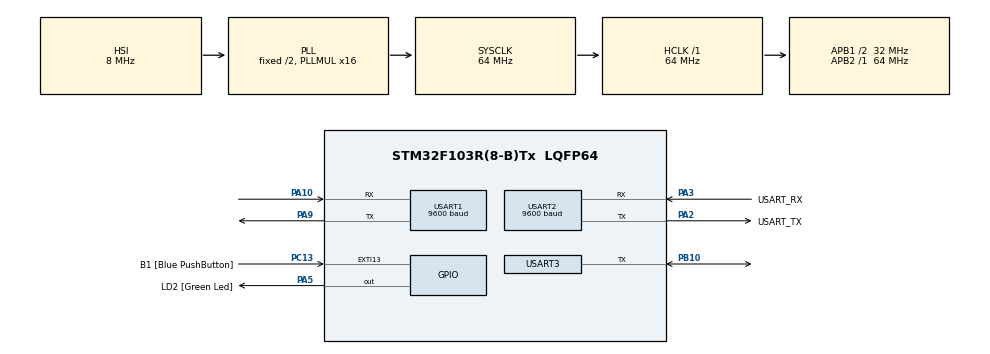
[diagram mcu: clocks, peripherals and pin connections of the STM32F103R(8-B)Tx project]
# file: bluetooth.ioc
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FREERTOS.Queues01=myQueue01,16,uint16_t,0,Dynamic,NULL,NULL
FREERTOS.Tasks01=defaultTask,24,128,StartDefaultTask,Default,NULL,Dynamic,NULL,NULL;Temp_Measure,15,128,Start_Temp_Measure,Default,NULL,Dynamic,NULL,NULL;Send_Data,13,128,Start_Send_Data,Default,NULL,Dynamic,NULL,NULL
FREERTOS.configUSE_NEWLIB_REENTRANT=1
Mcu.Family=STM32F1
Mcu.Name=STM32F103R(8-B)Tx
Mcu.Package=LQFP64
NVIC.EXTI15_10_IRQn=true\:5\:0\:false\:false\:true\:true\:true\:true\:true
NVIC.PriorityGroup=NVIC_PRIORITYGROUP_4
NVIC.TIM1_UP_IRQn=true\:15\:0\:false\:false\:true\:false\:false\:true\:true
NVIC.TimeBase=TIM1_UP_IRQn
NVIC.TimeBaseIP=TIM1
NVIC.USART1_IRQn=true\:5\:0\:false\:false\:true\:true\:true\:true\:true
NVIC.USART2_IRQn=true\:5\:0\:false\:false\:true\:true\:true\:true\:true
PA10.Mode=Asynchronous
PA10.Signal=USART1_RX
PA13.GPIO_Label=TMS
PA13.Mode=Serial_Wire
PA13.Signal=SYS_JTMS-SWDIO
PA14.GPIO_Label=TCK
PA14.Mode=Serial_Wire
PA14.Signal=SYS_JTCK-SWCLK
PA2.GPIO_Label=USART_TX
PA2.GPIO_Mode=GPIO_MODE_AF_PP
PA2.GPIO_PuPd=GPIO_NOPULL
PA2.GPIO_Speed=GPIO_SPEED_FREQ_LOW
PA2.Mode=Asynchronous
PA2.Signal=USART2_TX
PA3.GPIO_Label=USART_RX
PA3.GPIO_Mode=GPIO_MODE_AF_PP
PA3.GPIO_PuPd=GPIO_NOPULL
PA3.GPIO_Speed=GPIO_SPEED_FREQ_LOW
PA3.Mode=Asynchronous
PA3.Signal=USART2_RX
PA5.GPIO_Label=LD2 [Green Led]
PA5.GPIO_ModeDefaultOutputPP=GPIO_MODE_OUTPUT_PP
PA5.GPIO_PuPd=GPIO_NOPULL
PA5.GPIO_Speed=GPIO_SPEED_FREQ_LOW
PA5.Signal=GPIO_Output
PA9.Mode=Asynchronous
PA9.Signal=USART1_TX
PB10.GPIO_Mode=GPIO_MODE_AF_OD
PB10.Mode=Half_duplex(single_wire_mode)
PB10.Signal=USART3_TX
PB3.GPIO_Label=SWO
PB3.Signal=SYS_JTDO-TRACESWO
PC13-TAMPER-RTC.GPIO_Label=B1 [Blue PushButton]
PC13-TAMPER-RTC.GPIO_PuPd=GPIO_NOPULL
PC13-TAMPER-RTC.Signal=GPXTI13
PC14-OSC32_IN.Mode=LSE-External-Oscillator
PC14-OSC32_IN.Signal=RCC_OSC32_IN
PC15-OSC32_OUT.Mode=LSE-External-Oscillator
PC15-OSC32_OUT.Signal=RCC_OSC32_OUT
PD0-OSC_IN.Mode=HSE-External-Clock-Source
PD0-OSC_IN.Signal=RCC_OSC_IN
PD1-OSC_OUT.Mode=HSE-External-Clock-Source
PD1-OSC_OUT.Signal=RCC_OSC_OUT
ProjectManager.HeapSize=0x200
ProjectManager.StackSize=0x400
ProjectManager.TargetToolchain=STM32CubeIDE
RCC.AHBFreq_Value=64000000
RCC.APB1CLKDivider=RCC_HCLK_DIV2
RCC.APB1Freq_Value=32000000
RCC.APB1TimFreq_Value=64000000
RCC.APB2Freq_Value=64000000
RCC.APB2TimFreq_Value=64000000
RCC.HCLKFreq_Value=64000000
RCC.PLLMUL=RCC_PLL_MUL16
RCC.RTCClockSelection=RCC_RTCCLKSOURCE_LSE
RCC.SYSCLKFreq_VALUE=64000000
RCC.SYSCLKSource=RCC_SYSCLKSOURCE_PLLCLK
RCC.USBFreq_Value=64000000
USART1.BaudRate=9600
USART1.VirtualMode=VM_ASYNC
USART2.BaudRate=9600
USART2.VirtualMode=VM_ASYNC
USART3.BaudRate=9600
USART3.VirtualMode=VM_ASYNC
VP_FREERTOS_VS_CMSIS_V2.Mode=CMSIS_V2
VP_SYS_VS_tim1.Mode=TIM1
board=NUCLEO-F103RB

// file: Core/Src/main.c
/* USER CODE BEGIN Header */
/**
  ******************************************************************************
  * @file           : main.c
  * @brief          : Main program body
  ******************************************************************************
  * @attention
  *
  * Copyright (c) 2022 STMicroelectronics.
  * All rights reserved.
  *
  * This software is licensed under terms that can be found in the LICENSE file
  * in the root directory of this software component.
  * If no LICENSE file comes with this software, it is provided AS-IS.
  *
  ******************************************************************************
  */
/* USER CODE END Header */
#include "main.h"
#include "cmsis_os.h"

 UART_HandleTypeDef huart1;
UART_HandleTypeDef huart2;
UART_HandleTypeDef huart3;

/* Definitions for defaultTask */
osThreadId_t defaultTaskHandle;
const osThreadAttr_t defaultTask_attributes = {
  .name = "defaultTask",
  .stack_size = 128 * 4,
  .priority = (osPriority_t) osPriorityNormal,
};
/* Definitions for Temp_Measure */
osThreadId_t Temp_MeasureHandle;
const osThreadAttr_t Temp_Measure_attributes = {
  .name = "Temp_Measure",
  .stack_size = 128 * 4,
  .priority = (osPriority_t) osPriorityLow7,
};
/* Definitions for Send_Data */
osThreadId_t Send_DataHandle;
const osThreadAttr_t Send_Data_attributes = {
  .name = "Send_Data",
  .stack_size = 128 * 4,
  .priority = (osPriority_t) osPriorityLow5,
};
/* Definitions for myQueue01 */
osMessageQueueId_t myQueue01Handle;
const osMessageQueueAttr_t myQueue01_attributes = {
  .name = "myQueue01"
};
/* USER CODE BEGIN PV */
int flaga=0;
char pData[]="siemarr";
uint8_t data=0xBe;
uint8_t data_in=0;
 int Size= 7;
		char pReceive[7];
		  	  int Timeout=100;

/* USER CODE END PV */

void SystemClock_Config(void);
static void MX_GPIO_Init(void);
static void MX_USART2_UART_Init(void);
static void MX_USART1_UART_Init(void);
static void MX_USART3_UART_Init(void);
void StartDefaultTask(void *argument);
void Start_Temp_Measure(void *argument);
void Start_Send_Data(void *argument);

/* USER CODE BEGIN 0 */
void HAL_GPIO_EXTI_Callback(uint16_t GPIO_Pin){

	HAL_GPIO_TogglePin(GPIOA, GPIO_PIN_5);
}
void HAL_UART_RxCpltCallback(UART_HandleTypeDef *huart)
{

	HAL_UART_Receive_IT(&huart1,  pReceive, Size);
	if(strcmp(pReceive,"siema")==0)
	{

	}
	else if(strcmp(pReceive,"niema")==0)
	{

		}

	 HAL_UART_Transmit_IT(&huart2, pReceive, Size);

}
void HAL_UART_TxCpltCallback(UART_HandleTypeDef *huart)
{
}

/* USER CODE END 0 */

int main(void)
{

  /* MCU Configuration--------------------------------------------------------*/

  /* Reset of all peripherals, Initializes the Flash interface and the Systick. */
  HAL_Init();

  /* Configure the system clock */
  SystemClock_Config();

  /* Initialize all configured peripherals */
  MX_GPIO_Init();
  MX_USART2_UART_Init();
  MX_USART1_UART_Init();
  MX_USART3_UART_Init();
  /* USER CODE BEGIN 2 */
  HAL_UART_Receive_IT(&huart1,  pReceive, Size);
	HAL_UART_Transmit_IT(&huart1, pReceive, Size);

  /* USER CODE END 2 */

  /* Init scheduler */
  osKernelInitialize();

  /* Create the queue(s) */
  /* creation of myQueue01 */
  myQueue01Handle = osMessageQueueNew (16, sizeof(uint16_t), &myQueue01_attributes);

  /* Create the thread(s) */
  /* creation of defaultTask */
  defaultTaskHandle = osThreadNew(StartDefaultTask, NULL, &defaultTask_attributes);

  /* creation of Temp_Measure */
  Temp_MeasureHandle = osThreadNew(Start_Temp_Measure, NULL, &Temp_Measure_attributes);

  /* creation of Send_Data */
  Send_DataHandle = osThreadNew(Start_Send_Data, NULL, &Send_Data_attributes);

  /* Start scheduler */
  osKernelStart();

  /* We should never get here as control is now taken by the scheduler */
  /* Infinite loop */
  while (1)
  {

  }
}

void SystemClock_Config(void)
{
  RCC_OscInitTypeDef RCC_OscInitStruct = {0};
  RCC_ClkInitTypeDef RCC_ClkInitStruct = {0};

  /** Initializes the RCC Oscillators according to the specified parameters
  * in the RCC_OscInitTypeDef structure.
  */
  RCC_OscInitStruct.OscillatorType = RCC_OSCILLATORTYPE_HSI;
  RCC_OscInitStruct.HSIState = RCC_HSI_ON;
  RCC_OscInitStruct.HSICalibrationValue = RCC_HSICALIBRATION_DEFAULT;
  RCC_OscInitStruct.PLL.PLLState = RCC_PLL_ON;
  RCC_OscInitStruct.PLL.PLLSource = RCC_PLLSOURCE_HSI_DIV2;
  RCC_OscInitStruct.PLL.PLLMUL = RCC_PLL_MUL16;
  if (HAL_RCC_OscConfig(&RCC_OscInitStruct) != HAL_OK)
  {
    Error_Handler();
  }

  /** Initializes the CPU, AHB and APB buses clocks
  */
  RCC_ClkInitStruct.ClockType = RCC_CLOCKTYPE_HCLK|RCC_CLOCKTYPE_SYSCLK
                              |RCC_CLOCKTYPE_PCLK1|RCC_CLOCKTYPE_PCLK2;
  RCC_ClkInitStruct.SYSCLKSource = RCC_SYSCLKSOURCE_PLLCLK;
  RCC_ClkInitStruct.AHBCLKDivider = RCC_SYSCLK_DIV1;
  RCC_ClkInitStruct.APB1CLKDivider = RCC_HCLK_DIV2;
  RCC_ClkInitStruct.APB2CLKDivider = RCC_HCLK_DIV1;

  if (HAL_RCC_ClockConfig(&RCC_ClkInitStruct, FLASH_LATENCY_2) != HAL_OK)
  {
    Error_Handler();
  }
}

static void MX_USART1_UART_Init(void)
{

  huart1.Instance = USART1;
  huart1.Init.BaudRate = 9600;
  huart1.Init.WordLength = UART_WORDLENGTH_8B;
  huart1.Init.StopBits = UART_STOPBITS_1;
  huart1.Init.Parity = UART_PARITY_NONE;
  huart1.Init.Mode = UART_MODE_TX_RX;
  huart1.Init.HwFlowCtl = UART_HWCONTROL_NONE;
  huart1.Init.OverSampling = UART_OVERSAMPLING_16;
  if (HAL_UART_Init(&huart1) != HAL_OK)
  {
    Error_Handler();
  }

}

static void MX_USART2_UART_Init(void)
{

  huart2.Instance = USART2;
  huart2.Init.BaudRate = 9600;
  huart2.Init.WordLength = UART_WORDLENGTH_8B;
  huart2.Init.StopBits = UART_STOPBITS_1;
  huart2.Init.Parity = UART_PARITY_NONE;
  huart2.Init.Mode = UART_MODE_TX_RX;
  huart2.Init.HwFlowCtl = UART_HWCONTROL_NONE;
  huart2.Init.OverSampling = UART_OVERSAMPLING_16;
  if (HAL_UART_Init(&huart2) != HAL_OK)
  {
    Error_Handler();
  }

}

static void MX_USART3_UART_Init(void)
{

  huart3.Instance = USART3;
  huart3.Init.BaudRate = 9600;
  huart3.Init.WordLength = UART_WORDLENGTH_8B;
  huart3.Init.StopBits = UART_STOPBITS_1;
  huart3.Init.Parity = UART_PARITY_NONE;
  huart3.Init.Mode = UART_MODE_TX_RX;
  huart3.Init.HwFlowCtl = UART_HWCONTROL_NONE;
  huart3.Init.OverSampling = UART_OVERSAMPLING_16;
  if (HAL_HalfDuplex_Init(&huart3) != HAL_OK)
  {
    Error_Handler();
  }

}

static void MX_GPIO_Init(void)
{
  GPIO_InitTypeDef GPIO_InitStruct = {0};

  /* GPIO Ports Clock Enable */
  __HAL_RCC_GPIOC_CLK_ENABLE();
  __HAL_RCC_GPIOD_CLK_ENABLE();
  __HAL_RCC_GPIOA_CLK_ENABLE();
  __HAL_RCC_GPIOB_CLK_ENABLE();

  /*Configure GPIO pin Output Level */
  HAL_GPIO_WritePin(LD2_GPIO_Port, LD2_Pin, GPIO_PIN_RESET);

  /*Configure GPIO pin : B1_Pin */
  GPIO_InitStruct.Pin = B1_Pin;
  GPIO_InitStruct.Mode = GPIO_MODE_IT_RISING;
  GPIO_InitStruct.Pull = GPIO_NOPULL;
  HAL_GPIO_Init(B1_GPIO_Port, &GPIO_InitStruct);

  /*Configure GPIO pin : LD2_Pin */
  GPIO_InitStruct.Pin = LD2_Pin;
  GPIO_InitStruct.Mode = GPIO_MODE_OUTPUT_PP;
  GPIO_InitStruct.Pull = GPIO_NOPULL;
  GPIO_InitStruct.Speed = GPIO_SPEED_FREQ_LOW;
  HAL_GPIO_Init(LD2_GPIO_Port, &GPIO_InitStruct);

  /* EXTI interrupt init*/
  HAL_NVIC_SetPriority(EXTI15_10_IRQn, 5, 0);
  HAL_NVIC_EnableIRQ(EXTI15_10_IRQn);

}

void StartDefaultTask(void *argument)
{
  /* USER CODE BEGIN 5 */

  /* Infinite loop */
  for(;;)
  {

	  HAL_UART_Transmit(&huart3, &data, 1,HAL_MAX_DELAY);
	  HAL_UART_Receive(&huart3, &data_in, 1, HAL_MAX_DELAY);
	  HAL_UART_Transmit(&huart2, &data_in, 1, HAL_MAX_DELAY);
/*
	  if(HAL_GPIO_ReadPin(GPIOC, GPIO_PIN_13)==GPIO_PIN_RESET){

	HAL_UART_Transmit(&huart2, pReceive, Size, Timeout);
	  }
HAL_UART_Receive(&huart2, pReceive, Size, Timeout);
if(strcmp(pReceive,"siema")==0)
{
	HAL_GPIO_TogglePin(GPIOA, GPIO_PIN_5);
}

*/

    osDelay(1000);
  }
  /* USER CODE END 5 */
}

void Start_Temp_Measure(void *argument)
{
  for(;;)
  {
    osDelay(1);
  }
}

void Start_Send_Data(void *argument)
{
  /* USER CODE BEGIN Start_Send_Data */
  /* Infinite loop */
  for(;;)
  {

//HAL_UART_Receive(&huart1, pReceive, Size, Timeout);
osDelay(100);
	//	HAL_UART_Transmit(&huart1, pReceive, Size, Timeout);

	if(strcmp(pReceive,"siema")==0)
	{
		pReceive[0]=0;
		HAL_GPIO_TogglePin(GPIOA, GPIO_PIN_5);
	}

  }
  /* USER CODE END Start_Send_Data */
}

void HAL_TIM_PeriodElapsedCallback(TIM_HandleTypeDef *htim)
{
  if (htim->Instance == TIM1) {
    HAL_IncTick();
  }
}

void Error_Handler(void)
{
  __disable_irq();
  while (1)
  {
  }
}
